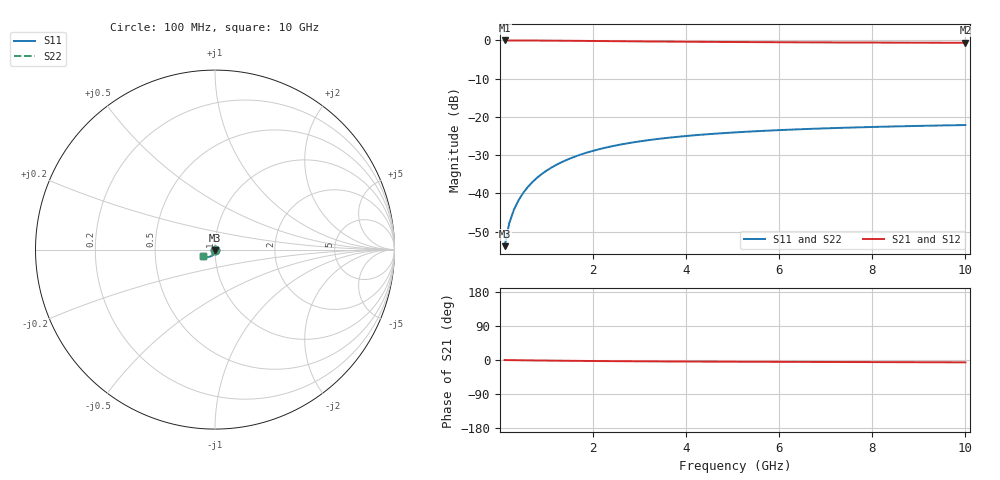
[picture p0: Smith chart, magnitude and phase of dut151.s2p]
! Touchstone file exported from HFSS 2024.1.0
!  File:  C:/UserFiles/LocalFiles/RDL_TSV_Batchsim/temp_TSV1_151_1779381427.aedt
!  Generated:  12:41:38 AM May 22, 2026
!  Design:  TSV1
!  Project:  temp_TSV1_151_1779381427
!  Setup:  Setup1
!  Solution:  Sweep
! Variables:
!  dtsv = 13.35um
!  hbump = 3um
!  htsv = 93.86um
!  lrdl = 252.1521522um
!  p = 40
!  p1 = 41.78um
!  t = 500um
!  trdl = 3um
!  wrdl = 24.89489489um
# GHz S MA R 50.000000
! Terminal data exported
! Port[1] = TSV22_T1
! Port[2] = TSV22_T2
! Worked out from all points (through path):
!   100 points, 100 MHz to 10 GHz, reference 50 ohm
!   highest |S21| = 0.00 dB at 100 MHz (marker M1); lowest = -0.6 dB at 10 GHz (marker M2)
!   lowest |S11| = -53.8 dB at 100 MHz (marker M3), VSWR 1.00, Z = 50 - j0.203 ohm
!   |S11| at or under -10 dB: start of sweep to end of sweep
!   |S22| runs from -53.8 to -22.1 dB; largest |S21 - S12| = 4.1e-15
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0.1  0.002035 -88.6  0.9998 -0.2  0.9998 -0.2  0.002035 -88.6
! Gamma 0 0 0 0
! Port Impedance 50 0 50 0
0.2  0.00407 -91.3  0.9997 -0.3  0.9997 -0.3  0.00407 -91.3
0.3  0.006105 -93.2  0.9994 -0.5  0.9994 -0.5  0.006105 -93.2
0.4  0.008132 -94.9  0.999 -0.6  0.999 -0.6  0.008132 -94.9
0.5  0.01014 -96.5  0.9985 -0.8  0.9985 -0.8  0.01014 -96.5
0.6  0.01213 -98.0  0.998 -0.9  0.998 -0.9  0.01213 -98.0
0.7  0.0141 -99.5  0.9973 -1.1  0.9973 -1.1  0.0141 -99.5
0.8  0.01603 -101.0  0.9966 -1.2  0.9966 -1.2  0.01603 -101.0
0.9  0.01793 -102.5  0.9958 -1.4  0.9958 -1.4  0.01793 -102.5
1.1  0.02161 -105.3  0.994 -1.6  0.994 -1.6  0.02161 -105.3
1.4  0.02682 -109.3  0.991 -2.0  0.991 -2.0  0.02682 -109.3
1.6  0.03006 -111.7  0.9888 -2.2  0.9888 -2.2  0.03006 -111.7
1.8  0.03312 -114.1  0.9865 -2.5  0.9865 -2.5  0.03312 -114.1
2.1  0.03736 -117.4  0.9829 -2.7  0.9829 -2.7  0.03736 -117.4
2.5  0.04239 -121.4  0.9782 -3.1  0.9782 -3.1  0.04239 -121.4
2.9  0.04678 -125.0  0.9737 -3.4  0.9737 -3.4  0.04678 -125.0
3.4  0.05149 -128.8  0.9683 -3.7  0.9683 -3.7  0.05149 -128.8
4.2  0.05761 -133.9  0.9608 -4.1  0.9608 -4.1  0.05761 -133.9
5.1  0.06294 -138.5  0.9538 -4.5  0.9538 -4.5  0.06294 -138.5
6.7  0.0698 -144.5  0.9443 -5.1  0.9443 -5.1  0.0698 -144.5
8.4  0.07482 -149.1  0.9371 -5.6  0.9371 -5.6  0.07482 -149.1
10  0.07824 -152.3  0.932 -6.2  0.932 -6.2  0.07824 -152.3
